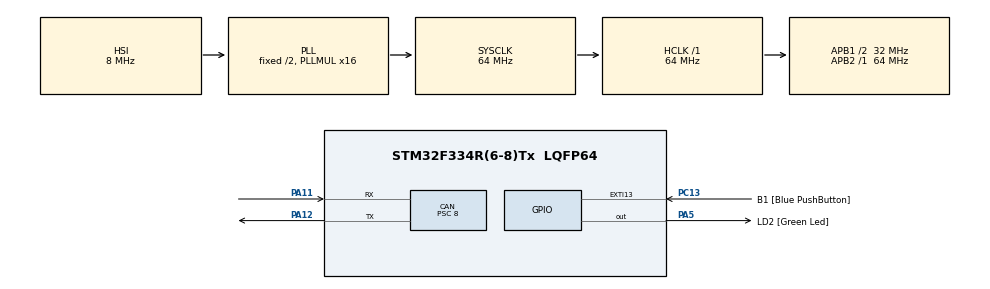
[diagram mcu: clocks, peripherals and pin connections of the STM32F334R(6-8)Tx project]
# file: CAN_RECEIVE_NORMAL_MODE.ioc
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CAN.BS1=CAN_BS1_3TQ
CAN.BS2=CAN_BS2_4TQ
CAN.CalculateBaudRate=500000
CAN.CalculateTimeBit=2000
CAN.CalculateTimeQuantum=250.0
CAN.Prescaler=8
Mcu.Family=STM32F3
Mcu.Name=STM32F334R(6-8)Tx
Mcu.Package=LQFP64
NVIC.CAN_RX0_IRQn=true\:0\:0\:false\:false\:true\:true\:true\:true
NVIC.PriorityGroup=NVIC_PRIORITYGROUP_0
NVIC.RCC_IRQn=true\:0\:0\:false\:false\:true\:true\:false\:true
PA11.Mode=CAN_Activate
PA11.Signal=CAN_RX
PA12.Mode=CAN_Activate
PA12.Signal=CAN_TX
PA5.GPIO_Label=LD2 [Green Led]
PA5.Signal=GPIO_Output
PC13.GPIO_Label=B1 [Blue PushButton]
PC13.GPIO_ModeDefaultEXTI=GPIO_MODE_IT_FALLING
PC13.Signal=GPXTI13
PC14\ /\ OSC32_IN.Mode=LSE-External-Clock-Source
PC14\ /\ OSC32_IN.Signal=RCC_OSC32_IN
PF0\ /\ OSC_IN.Mode=HSE-External-Clock-Source
PF0\ /\ OSC_IN.Signal=RCC_OSC_IN
PF1\ /\ OSC_OUT.Signal=RCC_OSC_OUT
ProjectManager.HeapSize=0x200
ProjectManager.StackSize=0x400
ProjectManager.TargetToolchain=STM32CubeIDE
RCC.AHBFreq_Value=64000000
RCC.APB1CLKDivider=RCC_HCLK_DIV2
RCC.APB1Freq_Value=32000000
RCC.APB1TimFreq_Value=64000000
RCC.APB2Freq_Value=64000000
RCC.APB2TimFreq_Value=64000000
RCC.CortexFreq_Value=64000000
RCC.FLatency-AdvancedSettings=FLASH_LATENCY_2
RCC.HCLKFreq_Value=64000000
RCC.HSE_VALUE=8000000
RCC.HSI_VALUE=8000000
RCC.LSE_VALUE=32768
RCC.PLLMUL=RCC_PLL_MUL16
RCC.SYSCLKFreq_VALUE=64000000
RCC.SYSCLKSourceVirtual=RCC_SYSCLKSOURCE_PLLCLK
board=NUCLEO-F334R8

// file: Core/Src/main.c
/* USER CODE BEGIN Header */
/**
  ******************************************************************************
  * @file           : main.c
  * @brief          : Main program body
  ******************************************************************************
  * @attention
  *
  * Copyright (c) 2024 STMicroelectronics.
  * All rights reserved.
  *
  * This software is licensed under terms that can be found in the LICENSE file
  * in the root directory of this software component.
  * If no LICENSE file comes with this software, it is provided AS-IS.
  *
  ******************************************************************************
  */
/* USER CODE END Header */
#include "main.h"

CAN_HandleTypeDef hcan;

/* USER CODE BEGIN PV */
CAN_HandleTypeDef hcan1;
CAN_RxHeaderTypeDef rxHeader; //CAN Bus Transmit Header
CAN_TxHeaderTypeDef txHeader; //CAN Bus Receive Header
uint8_t canRX[8] = {0,0,0,0,0,0,0,0};  //CAN Bus Receive Buffer
CAN_FilterTypeDef canfil; //CAN Bus Filter
uint32_t canMailbox;

/* USER CODE END PV */

void SystemClock_Config(void);
static void MX_GPIO_Init(void);
static void MX_CAN_Init(void);
/* USER CODE BEGIN PFP */

void HAL_CAN_RxFifo0MsgPendingCallback(CAN_HandleTypeDef *hcan)
{
	HAL_CAN_GetRxMessage(hcan, CAN_RX_FIFO0, &rxHeader, canRX);
	if(rxHeader.DLC == 8){
		HAL_GPIO_TogglePin(LD2_GPIO_Port, LD2_Pin);
	}
	//Receive CAN bus message to canRX buffer
}

/* USER CODE END PFP */

int main(void)
{

  /* MCU Configuration--------------------------------------------------------*/

  /* Reset of all peripherals, Initializes the Flash interface and the Systick. */
  HAL_Init();

  /* Configure the system clock */
  SystemClock_Config();

  /* Initialize all configured peripherals */
  MX_GPIO_Init();
  MX_CAN_Init();
  /* USER CODE BEGIN 2 */

  	txHeader.DLC = 8; // Number of bites to be transmitted max- 8
    txHeader.IDE = CAN_ID_STD;
    txHeader.RTR = CAN_RTR_DATA;
    txHeader.StdId = 0x446;
    txHeader.ExtId = 0;
    txHeader.TransmitGlobalTime = DISABLE;

    canfil.FilterBank = 0;
     canfil.FilterMode = CAN_FILTERMODE_IDMASK;
     canfil.FilterFIFOAssignment = CAN_RX_FIFO0;
     canfil.FilterIdHigh = 0;
     canfil.FilterIdLow = 0;
     canfil.FilterMaskIdHigh = 0;
     canfil.FilterMaskIdLow = 0;
     canfil.FilterScale = CAN_FILTERSCALE_32BIT;
     canfil.FilterActivation = ENABLE;
     canfil.SlaveStartFilterBank = 0;

    HAL_CAN_ConfigFilter(&hcan,&canfil); //Initialize CAN Filter
    HAL_CAN_Start(&hcan); //Initialize CAN Bus
    HAL_CAN_ActivateNotification(&hcan,CAN_IT_RX_FIFO0_MSG_PENDING);

  /* USER CODE END 2 */

  /* Infinite loop */
  /* USER CODE BEGIN WHILE */
    uint8_t csend[] = {0x01,0x02,0x03,0x04,0x05,0x06,0x07,0x08}; // Tx Buffer

    HAL_CAN_AddTxMessage(&hcan,&txHeader,csend,&canMailbox);

     while (1)

     {
    	 if (HAL_GPIO_ReadPin(B1_GPIO_Port, B1_Pin) == GPIO_PIN_RESET  )
    		  	 {

    		  		HAL_CAN_AddTxMessage(&hcan,&txHeader,csend,&canMailbox);
    		  		//HAL_GPIO_WritePin(LD2_GPIO_Port, LD2_Pin,GPIO_PIN_SET);
    		  	      //CAN_Transmit();
    		  	      while(HAL_GPIO_ReadPin(B1_GPIO_Port, B1_Pin) == GPIO_PIN_RESET  )
    		  	       {

    		  	       }

    		  	  }

    /* USER CODE END WHILE */

    /* USER CODE BEGIN 3 */

     }
     //asm("nop"); asm("nop"); asm("nop"); asm("nop"); asm("nop"); asm("nop"); asm("nop"); asm("nop"); asm("nop");

  /* USER CODE END 3 */
}

void SystemClock_Config(void)
{
  RCC_OscInitTypeDef RCC_OscInitStruct = {0};
  RCC_ClkInitTypeDef RCC_ClkInitStruct = {0};

  /** Initializes the RCC Oscillators according to the specified parameters
  * in the RCC_OscInitTypeDef structure.
  */
  RCC_OscInitStruct.OscillatorType = RCC_OSCILLATORTYPE_HSI;
  RCC_OscInitStruct.HSIState = RCC_HSI_ON;
  RCC_OscInitStruct.HSICalibrationValue = RCC_HSICALIBRATION_DEFAULT;
  RCC_OscInitStruct.PLL.PLLState = RCC_PLL_ON;
  RCC_OscInitStruct.PLL.PLLSource = RCC_PLLSOURCE_HSI;
  RCC_OscInitStruct.PLL.PLLMUL = RCC_PLL_MUL16;
  if (HAL_RCC_OscConfig(&RCC_OscInitStruct) != HAL_OK)
  {
    Error_Handler();
  }

  /** Initializes the CPU, AHB and APB buses clocks
  */
  RCC_ClkInitStruct.ClockType = RCC_CLOCKTYPE_HCLK|RCC_CLOCKTYPE_SYSCLK
                              |RCC_CLOCKTYPE_PCLK1|RCC_CLOCKTYPE_PCLK2;
  RCC_ClkInitStruct.SYSCLKSource = RCC_SYSCLKSOURCE_PLLCLK;
  RCC_ClkInitStruct.AHBCLKDivider = RCC_SYSCLK_DIV1;
  RCC_ClkInitStruct.APB1CLKDivider = RCC_HCLK_DIV2;
  RCC_ClkInitStruct.APB2CLKDivider = RCC_HCLK_DIV1;

  if (HAL_RCC_ClockConfig(&RCC_ClkInitStruct, FLASH_LATENCY_2) != HAL_OK)
  {
    Error_Handler();
  }
}

static void MX_CAN_Init(void)
{

  hcan.Instance = CAN;
  hcan.Init.Prescaler = 8;
  hcan.Init.Mode = CAN_MODE_NORMAL;
  hcan.Init.SyncJumpWidth = CAN_SJW_1TQ;
  hcan.Init.TimeSeg1 = CAN_BS1_3TQ;
  hcan.Init.TimeSeg2 = CAN_BS2_4TQ;
  hcan.Init.TimeTriggeredMode = DISABLE;
  hcan.Init.AutoBusOff = DISABLE;
  hcan.Init.AutoWakeUp = DISABLE;
  hcan.Init.AutoRetransmission = DISABLE;
  hcan.Init.ReceiveFifoLocked = DISABLE;
  hcan.Init.TransmitFifoPriority = DISABLE;
  if (HAL_CAN_Init(&hcan) != HAL_OK)
  {
    Error_Handler();
  }

}

static void MX_GPIO_Init(void)
{
  GPIO_InitTypeDef GPIO_InitStruct = {0};

  /* GPIO Ports Clock Enable */
  __HAL_RCC_GPIOC_CLK_ENABLE();
  __HAL_RCC_GPIOF_CLK_ENABLE();
  __HAL_RCC_GPIOA_CLK_ENABLE();

  /*Configure GPIO pin Output Level */
  HAL_GPIO_WritePin(LD2_GPIO_Port, LD2_Pin, GPIO_PIN_RESET);

  /*Configure GPIO pin : B1_Pin */
  GPIO_InitStruct.Pin = B1_Pin;
  GPIO_InitStruct.Mode = GPIO_MODE_IT_FALLING;
  GPIO_InitStruct.Pull = GPIO_NOPULL;
  HAL_GPIO_Init(B1_GPIO_Port, &GPIO_InitStruct);

  /*Configure GPIO pin : LD2_Pin */
  GPIO_InitStruct.Pin = LD2_Pin;
  GPIO_InitStruct.Mode = GPIO_MODE_OUTPUT_PP;
  GPIO_InitStruct.Pull = GPIO_NOPULL;
  GPIO_InitStruct.Speed = GPIO_SPEED_FREQ_LOW;
  HAL_GPIO_Init(LD2_GPIO_Port, &GPIO_InitStruct);

}

void Error_Handler(void)
{
  __disable_irq();
  while (1)
  {
  }
}
